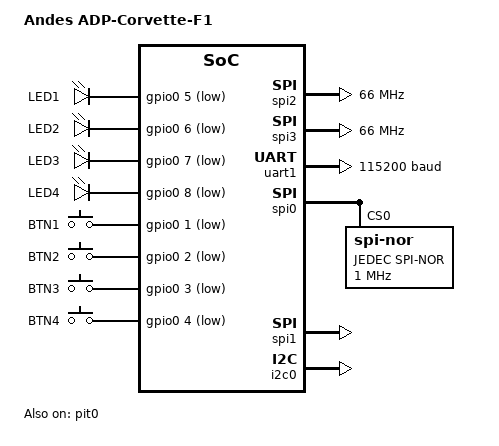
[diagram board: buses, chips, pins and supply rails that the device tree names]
/*
 * Copyright (c) 2021 Andes Technology Corporation
 *
 * SPDX-License-Identifier: Apache-2.0
 */

/dts-v1/;

#include <andes_v5_ae250.dtsi>

/ {
	model = "Andes ADP-Corvette-F1";
	compatible = "andestech,adp_corvette_f1";

	aliases {
		gpio-0 = &gpio0;
		counter-0 = &pit0;
		spi-0 = &spi0;
		spi-1 = &spi1;
		spi-2 = &spi2;
		spi-3 = &spi3;
		i2c-0 = &i2c0;

		led0 = &green_led1;
		led1 = &green_led2;
		sw0 = &user_button1;
	};

	chosen {
		zephyr,console = &uart1;
		zephyr,shell-uart = &uart1;
		zephyr,flash = &flash0;
	};

	leds {
		compatible = "gpio-leds";

		green_led1: led_1 {
			label = "LED1";
			gpios = <&gpio0 5 GPIO_ACTIVE_LOW>;
		};
		green_led2: led_2 {
			label = "LED2";
			gpios = <&gpio0 6 GPIO_ACTIVE_LOW>;
		};
		green_led3: led_3 {
			label = "LED3";
			gpios = <&gpio0 7 GPIO_ACTIVE_LOW>;
		};
		green_led4: led_4 {
			label = "LED4";
			gpios = <&gpio0 8 GPIO_ACTIVE_LOW>;
		};
	};

	gpio_keys {
		compatible = "gpio-keys";

		user_button1: button_1 {
			label = "BTN1";
			gpios = <&gpio0 1 GPIO_ACTIVE_LOW>;
		};
		user_button2: button_2 {
			label = "BTN2";
			gpios = <&gpio0 2 GPIO_ACTIVE_LOW>;
		};
		user_button3: button_3 {
			label = "BTN3";
			gpios = <&gpio0 3 GPIO_ACTIVE_LOW>;
		};
		user_button4: button_4 {
			label = "BTN4";
			gpios = <&gpio0 4 GPIO_ACTIVE_LOW>;
		};
	};

	soc {
		spi2: spi@f1900000 {
			compatible = "andestech,atcspi200";
			label = "spi_2";
			reg = <0xf1900000 0x1000>;
			reg-names = "control";
			#address-cells = <1>;
			#size-cells = <0>;
			num-cs = <1>;
			clock-frequency = <66000000>;
			interrupts = <26 1>;
			interrupt-parent = <&plic0>;
			status = "disabled";
		};

		spi3: spi@f1a00000 {
			compatible = "andestech,atcspi200";
			label = "spi_3";
			reg = <0xf1a00000 0x1000>;
			reg-names = "control";
			#address-cells = <1>;
			#size-cells = <0>;
			num-cs = <1>;
			clock-frequency = <66000000>;
			interrupts = <27 1>;
			interrupt-parent = <&plic0>;
			status = "disabled";
		};
	};
};

&ilm {
	reg = <0x00000000 0x00040000>;
};

&dlm {
	reg = <0x00200000 0x00020000>;
};

&uart1 {
	status = "okay";
	clock-frequency = <19660800>;
	current-speed = <115200>;
};

&gpio0 {
	status = "okay";
};

&pit0 {
	status = "okay";
};

&spi0 {
	status = "okay";
	flash0: flash@0 {
		compatible = "jedec,spi-nor";
		size = <16777216>;
		label = "JEDEC SPI-NOR";
		spi-max-frequency = <1000000>;
		reg = <0>;
		status = "okay";
		jedec-id = [c2 20 16];
	};
};

&spi1 {
	status = "okay";
};

&spi2 {
	status = "okay";
};

&spi3 {
	status = "okay";
};

&i2c0 {
	status = "okay";
};
